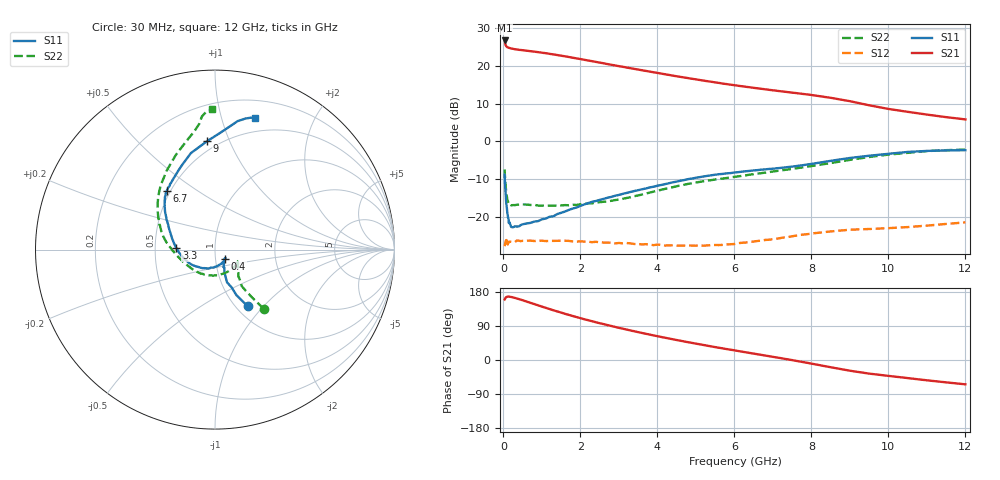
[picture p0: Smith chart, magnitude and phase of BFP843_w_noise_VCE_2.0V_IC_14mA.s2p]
! Infineon Technologies  Discrete & RF Semiconductors
! BFP843
! VCE =  2.0 V,  IC =  14 mA
! Common Emitter S-Parameters:  Aug 2013
# GHz  S  MA  R  50
!  f  S11  S21  S12  S22
! GHz  MAG  ANG  MAG  ANG  MAG  ANG  MAG  ANG
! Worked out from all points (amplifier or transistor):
!   103 points, 30 MHz to 12 GHz, reference 50 ohm
!   highest |S21| = 26.7 dB at 30 MHz (marker M1)
!   |S21| within 3 dB of that: start of sweep to 832 MHz
!   unconditionally stable (mu >= 1): 106.6 MHz to 117.6 MHz; 128 MHz to 10.83 GHz
!   at 400 MHz: K = 1.02, MAG = 24.5 dB, |S12| = -26.2 dB
!   at 3.7 GHz: K = 1.37, MAG = 19.3 dB, |S12| = -27.2 dB
!   at 12 GHz: K = 0.84, MSG = 13.6 dB, |S12| = -21.4 dB
!   lowest NFmin = 0.95 dB at 450 MHz
!   S11 on the Smith chart (normalised r, x): 30 MHz: 1.13, -0.82; 400 MHz: 1.11, -0.11; 3.3 GHz: 0.65, +0.01; 6.7 GHz: 0.48, +0.38; 9 GHz: 0.44, +0.83; 12 GHz: 0.36, +1.28
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0.03  0.3634 -60.1  21.7 159.6  0.0412 25.9  0.4271 -50.5
0.04  0.281 -64.8  20.1 161.2  0.0436 22.1  0.34 -52.2
0.05  0.2305 -66.2  19.22 163.9  0.0455 18.3  0.2876 -53.2
0.07  0.1576 -68.6  18.18 165.7  0.0475 11.4  0.2138 -50.1
0.11  0.1075 -64.5  17.6 167.2  0.0433 8.4  0.1653 -40.0
0.2  0.074 -45.0  16.96 166.3  0.0471 6.8  0.1429 -26.6
0.4  0.0753 -41.8  16.32 160.8  0.0487 2.1  0.1466 -25.8
0.9  0.0884 -75.1  15.19 144.2  0.0485 0.2  0.142 -48.1
1.3  0.1026 -102.4  14.18 131.1  0.0484 -2.5  0.1421 -69.0
1.6  0.1185 -119.5  13.39 121.9  0.0486 -3.9  0.144 -84.4
2.1  0.1469 -142.4  12.04 107.6  0.0474 -5.1  0.1486 -108.3
2.7  0.1799 -164.1  10.58 92.1  0.046 -6.3  0.1611 -132.9
3.3  0.2149 178.0  9.316 78.0  0.0449 -6.7  0.183 -154.9
4.1  0.2659 159.2  7.904 60.7  0.0428 -5.1  0.2295 -176.9
5  0.3313 145.6  6.631 43.2  0.0418 -1.1  0.2862 168.3
6.1  0.3929 135.5  5.459 23.7  0.0452 5.3  0.3453 154.0
6.7  0.4239 129.4  4.972 13.5  0.0489 6.8  0.3812 146.7
7.6  0.4722 117.3  4.369 -2.1  0.0568 6.6  0.4407 135.3
8.5  0.5543 104.0  3.782 -19.1  0.0645 2.6  0.5176 121.1
9  0.6049 94.3  3.411 -28.3  0.068 -0.5  0.5706 112.5
10.5  0.7269 80.0  2.468 -47.7  0.0737 -7.2  0.707 97.1
12  0.7667 73.2  1.958 -64.2  0.0851 -13.9  0.7813 91.2
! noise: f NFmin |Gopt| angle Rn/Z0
0.45  0.95  0.05  -171  0.02
0.9  0.96  0.05  -164  0.05
1.5  0.98  0.05  -156  0.11
1.9  1  0.05  -146  0.18
2.4  1.03  0.05  -137  0.25
3.5  1.08  0.04  -114  0.28
5.5  1.2  0.2  -116  0.35
10  1.79  0.5  -64  0.47
